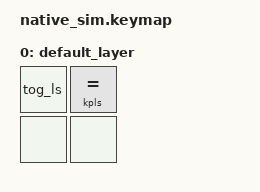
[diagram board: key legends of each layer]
#include <dt-bindings/zmk/keys.h>
#include <behaviors.dtsi>
#include <dt-bindings/zmk/kscan_mock.h>
#include <layout_shift.dtsi>

&tog_ls { layout-maps = <&layout_shift_map_us_to_jis &layout_shift_map_dvorak>; };

/* Equal priorities -> fall back to global declaration order (dvorak first, then jis).
 * EQUAL: dvorak EQUAL->RIGHT_BRACKET; jis RIGHT_BRACKET->BACKSLASH = 0x31. */
&layout_shift_map_us_to_jis    { priority = <10>; };
&layout_shift_map_dvorak { priority = <10>; };

&kscan {
    events = <
        ZMK_MOCK_PRESS(0,0,10)
        ZMK_MOCK_RELEASE(0,0,10)
        ZMK_MOCK_PRESS(0,1,10)
        ZMK_MOCK_RELEASE(0,1,10)
    >;
};

/ {
    keymap {
        compatible = "zmk,keymap";

        default_layer {
            bindings = <
                &tog_ls &kpls EQUAL
                &none   &none
            >;
        };
    };
};
